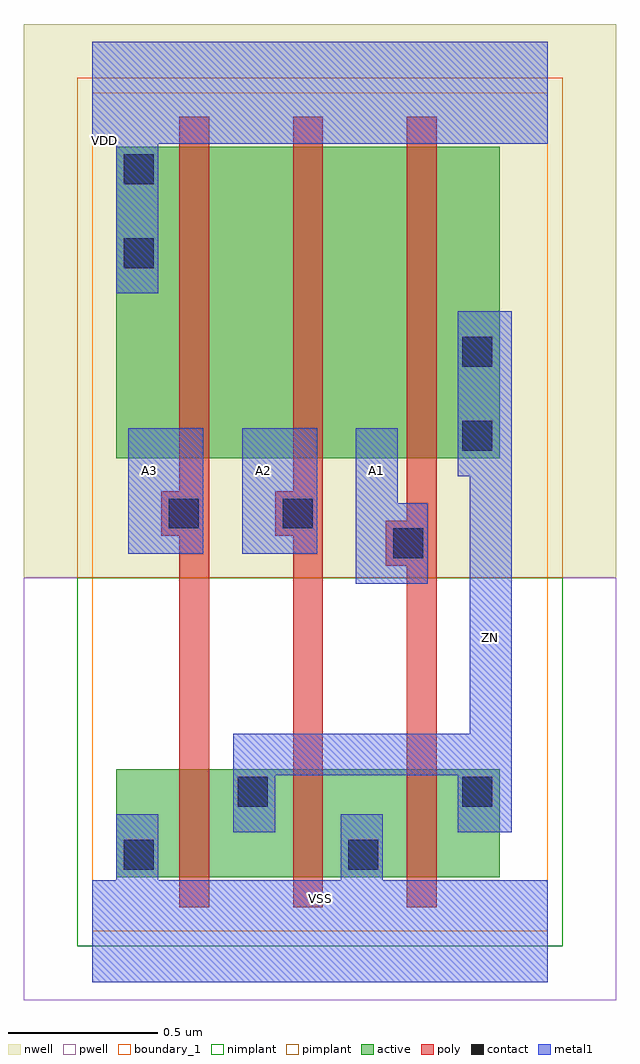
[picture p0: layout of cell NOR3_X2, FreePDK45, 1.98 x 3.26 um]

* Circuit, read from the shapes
.subckt NOR3_X2 A1 A2 A3 VDD VSS ZN
M1 ZN A3 VSS VSUBS nfet w=0.36u l=0.1u
M2 VSS A2 ZN VSUBS nfet w=0.36u l=0.1u
M3 ZN A1 VSS VSUBS nfet w=0.36u l=0.1u
M4 n1 A3 VDD n2 pfet w=1.04u l=0.1u
M5 n3 A2 n1 n2 pfet w=1.04u l=0.1u
M6 ZN A1 n3 n2 pfet w=1.04u l=0.1u
.ends

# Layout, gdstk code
import gdstk
lib = gdstk.Library(unit=1e-6, precision=1e-09)
def R(c, l, rs):  # rectangles x0, y0, x1, y1
    for r in rs: c.add(gdstk.rectangle(r[:2], r[2:], *l))
def P(c, l, *ps):  # polygons
    for p in ps: c.add(gdstk.Polygon(p, *l))
active = (1, 0)
pwell = (2, 0)
nwell = (3, 0)
nimplant = (4, 0)
pimplant = (5, 0)
poly = (9, 0)
contact = (10, 0)
metal1 = (11, 0)
boundary_1 = (235, 1)

nor3_x2 = lib.new_cell('NOR3_X2')
R(nor3_x2, active, [(0.08,0.18,1.36,0.54), (0.08,1.58,1.36,2.62)])
R(nor3_x2, pwell, [(-0.23,-0.23,1.75,1.18)])
R(nor3_x2, nwell, [(-0.23,1.18,1.75,3.03)])
R(nor3_x2, nimplant, [(-0.05,-0.05,1.57,1.18)])
R(nor3_x2, pimplant, [(-0.05,1.18,1.57,2.85)])
P(nor3_x2, poly, [(0.98,1.22),(1.05,1.22),(1.05,0.08),(1.15,0.08),(1.15,2.72),(1.05,2.72),(1.05,1.37),(0.98,1.37)],
  [(0.61,1.32),(0.67,1.32),(0.67,0.08),(0.77,0.08),(0.77,2.72),(0.67,2.72),(0.67,1.47),(0.61,1.47)],
  [(0.23,1.32),(0.29,1.32),(0.29,0.08),(0.39,0.08),(0.39,2.72),(0.29,2.72),(0.29,1.47),(0.23,1.47)])
R(nor3_x2, contact, [(0.105,0.205,0.205,0.305), (0.855,0.205,0.955,0.305), (0.485,0.415,0.585,0.515), (1.235,0.415,1.335,0.515), (1.005,1.245,1.105,1.345), (0.255,1.345,0.355,1.445), (0.635,1.345,0.735,1.445), (1.235,1.605,1.335,1.705), (1.235,1.885,1.335,1.985), (0.105,2.215,0.205,2.315), (0.105,2.495,0.205,2.595)])
R(nor3_x2, metal1, [(0.12,1.26,0.37,1.68), (0.12,1.26,0.37,1.68), (0.5,1.26,0.75,1.68), (0.5,1.26,0.75,1.68)])
P(nor3_x2, metal1, [(1.22,1.52),(1.26,1.52),(1.26,0.66),(0.47,0.66),(0.47,0.33),(0.61,0.33),(0.61,0.52),(1.22,0.52),(1.22,0.33),(1.4,0.33),(1.4,2.07),(1.22,2.07)],
  [(0,-0.17),(1.52,-0.17),(1.52,0.17),(0.97,0.17),(0.97,0.39),(0.83,0.39),(0.83,0.17),(0.22,0.17),(0.22,0.39),(0.08,0.39),(0.08,0.17),(0,0.17)],
  [(0.88,1.16),(1.12,1.16),(1.12,1.43),(1.02,1.43),(1.02,1.68),(0.88,1.68)],
  [(0,2.63),(0.08,2.63),(0.08,2.13),(0.22,2.13),(0.22,2.63),(1.52,2.63),(1.52,2.97),(0,2.97)],
  [(0,2.63),(0.08,2.63),(0.08,2.13),(0.22,2.13),(0.22,2.63),(1.52,2.63),(1.52,2.97),(0,2.97)],
  [(0,-0.17),(1.52,-0.17),(1.52,0.17),(0.97,0.17),(0.97,0.39),(0.83,0.39),(0.83,0.17),(0.22,0.17),(0.22,0.39),(0.08,0.39),(0.08,0.17),(0,0.17)],
  [(1.22,1.52),(1.26,1.52),(1.26,0.66),(0.47,0.66),(0.47,0.33),(0.61,0.33),(0.61,0.52),(1.22,0.52),(1.22,0.33),(1.4,0.33),(1.4,2.07),(1.22,2.07)],
  [(0.88,1.16),(1.12,1.16),(1.12,1.43),(1.02,1.43),(1.02,1.68),(0.88,1.68)])
R(nor3_x2, boundary_1, [(0,0,1.52,2.8)])
nor3_x2.add(gdstk.Label('ZN', (1.33,0.98), layer=11, texttype=0))
nor3_x2.add(gdstk.Label('VSS', (0.76,0.11), layer=11, texttype=0))
nor3_x2.add(gdstk.Label('VDD', (0.04,2.64), layer=11, texttype=0))
nor3_x2.add(gdstk.Label('A3', (0.19,1.54), layer=11, texttype=0))
nor3_x2.add(gdstk.Label('A2', (0.57,1.54), layer=11, texttype=0))
nor3_x2.add(gdstk.Label('A1', (0.95,1.54), layer=11, texttype=0))

lib.write_gds('NOR3_X2.gds')
